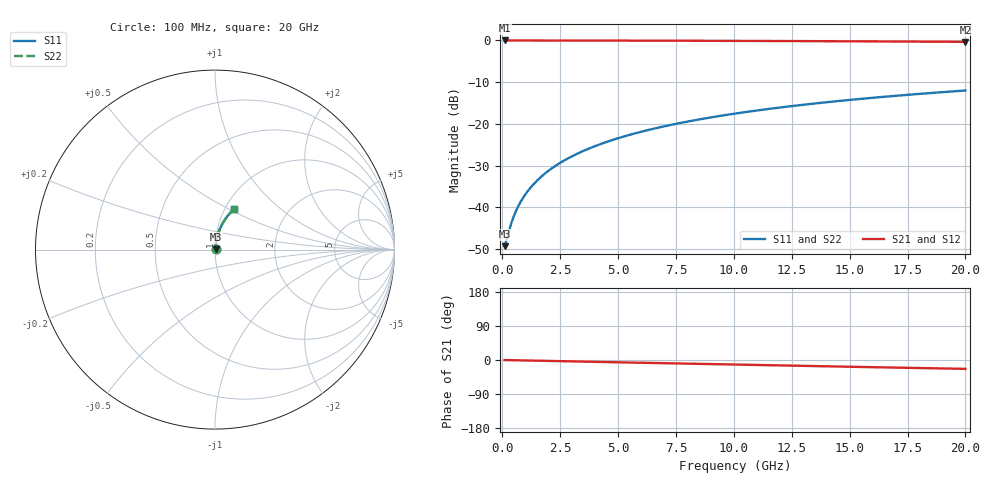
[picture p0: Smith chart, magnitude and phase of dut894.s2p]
! Touchstone file exported from HFSS 2026.1.0
!  File:  C:/ffzhzh/LocalFiles/Ansys_Project_Files/temp_train_BSMRDL_894_1783171271_43440.aedt
!  Generated:  09:22:26 PM Jul  4, 2026
!  Design:  BSMRDL
!  Project:  temp_train_BSMRDL_894_1783171271_43440
! Variables:
!  h_bsmrdl = 2.47um
!  h_ox = 20um
!  h_rdl = 5um
!  h_sub = 80um
!  h_tmrdl = 5um
!  h_tsv = 80um
!  h_via = 3um
!  l_bsmrdl = 301.64um
!  l_sub = 701.64um
!  l_tmrdl = 200um
!  m_sub = 200um
!  pitch = 37.28um
!  r_tsv = 6um
!  s_tmrdl = 10um
!  w_bsmrdl = 15.08um
!  w_sub = 500um
!  w_tmrdl = 12um
!  x_tsv_center1 = 206um
!  x_tsv_center2 = 522.72um
!  x_tsv_center3 = 734.72um
!  x_tsv_center4 = 1051.44um
!  x_tsv_center5 = 1263.44um
!  x_tsv_center6 = 1580.16um
# GHz S MA R 50.000000
! Terminal data exported
! Port[1] = BSM_RDL1_1_T1
! Port[2] = BSM_RDL1_1_T2
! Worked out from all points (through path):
!   200 points, 100 MHz to 20 GHz, reference 50 ohm
!   highest |S21| = -0.03 dB at 100 MHz (marker M1); lowest = -0.4 dB at 20 GHz (marker M2)
!   group delay of S21, straight-line fit = 3.26 ps
!   lowest |S11| = -49.3 dB at 100 MHz (marker M3), VSWR 1.01, Z = 50.3 + j0.146 ohm
!   |S11| at or under -10 dB: start of sweep to end of sweep
!   |S22| runs from -49.3 to -12.0 dB; largest |S21 - S12| = 3.5e-15
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0.1  0.003429 25.0  0.9969 -0.1  0.9969 -0.1  0.003429 25.0
! Gamma 0 0 0 0
! Port Impedance 50 0 50 0
0.3  0.005389 53.1  0.9968 -0.4  0.9968 -0.4  0.005389 53.1
0.4  0.006609 59.8  0.9967 -0.5  0.9967 -0.5  0.006609 59.8
0.5  0.007875 64.2  0.9966 -0.6  0.9966 -0.6  0.007875 64.2
0.6  0.009161 67.3  0.9965 -0.8  0.9965 -0.8  0.009161 67.3
0.7  0.01046 69.7  0.9965 -0.9  0.9965 -0.9  0.01046 69.7
0.9  0.01305 72.9  0.9963 -1.1  0.9963 -1.1  0.01305 72.9
1.2  0.01697 75.9  0.9962 -1.5  0.9962 -1.5  0.01697 75.9
1.4  0.01959 77.2  0.996 -1.7  0.996 -1.7  0.01959 77.2
1.7  0.02354 78.5  0.9959 -2.1  0.9959 -2.1  0.02354 78.5
2.2  0.03015 79.8  0.9956 -2.7  0.9956 -2.7  0.03015 79.8
2.8  0.03811 80.5  0.9953 -3.4  0.9953 -3.4  0.03811 80.5
3.5  0.04741 80.7  0.9947 -4.3  0.9947 -4.3  0.04741 80.7
4.2  0.0567 80.6  0.9941 -5.1  0.9941 -5.1  0.0567 80.6
5  0.06729 80.2  0.9933 -6.1  0.9933 -6.1  0.06729 80.2
5.9  0.07914 79.5  0.9922 -7.1  0.9922 -7.1  0.07914 79.5
6.8  0.09092 78.7  0.991 -8.2  0.991 -8.2  0.09092 78.7
8.3  0.1104 77.3  0.9887 -10.0  0.9887 -10.0  0.1104 77.3
10.1  0.1333 75.4  0.9853 -12.1  0.9853 -12.1  0.1333 75.4
13.4  0.1742 71.8  0.978 -16.0  0.978 -16.0  0.1742 71.8
16.7  0.2134 68.2  0.9694 -19.7  0.9694 -19.7  0.2134 68.2
20  0.2508 64.7  0.9597 -23.4  0.9597 -23.4  0.2508 64.7
